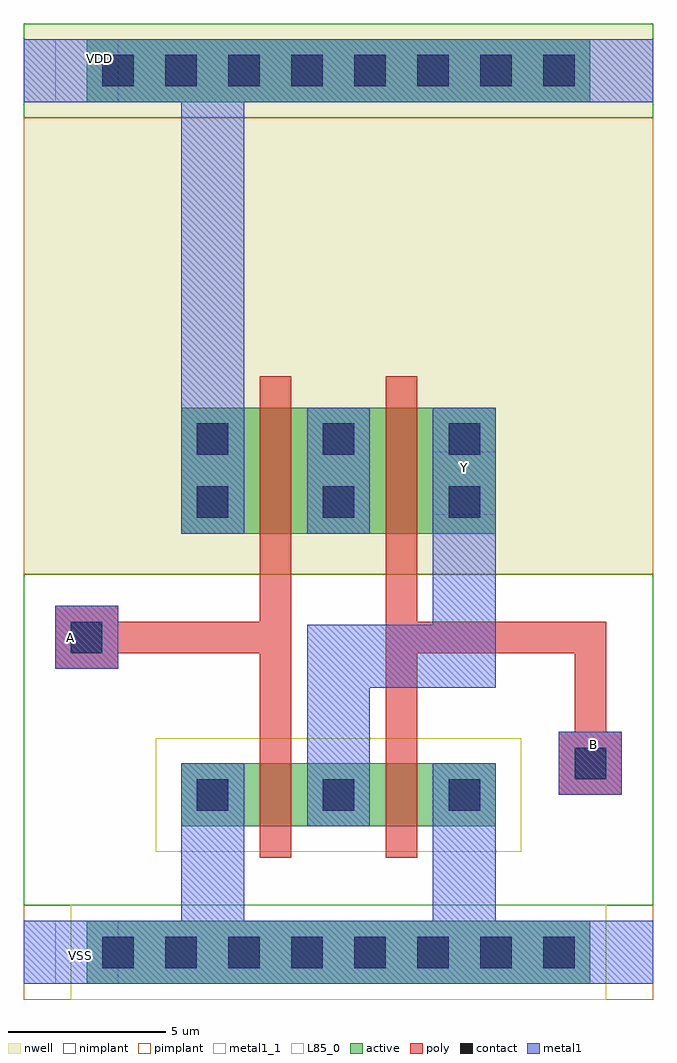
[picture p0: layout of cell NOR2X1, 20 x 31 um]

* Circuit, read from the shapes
.subckt NOR2X1 A B VDD VSS Y
M1 Y A VSS VSS nfet w=2u l=1u
M2 VSS B Y VSS nfet w=2u l=1u
M3 n1 A VDD VDD pfet w=4u l=1u
M4 Y B n1 VDD pfet w=4u l=1u
.ends

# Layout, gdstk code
from math import pi, radians
import gdstk
lib = gdstk.Library(unit=1e-6, precision=5e-10)
def R(c, l, rs):  # rectangles x0, y0, x1, y1
    for r in rs: c.add(gdstk.rectangle(r[:2], r[2:], *l))
def A(c, l, x, y, w, h, nx, ny, dx, dy):  # array of equal rectangles
    R(c, l, [(x+i*dx, y+j*dy, x+i*dx+w, y+j*dy+h) for i in range(nx) for j in range(ny)])
active = (1, 0)
nwell = (2, 0)
poly = (3, 0)
nimplant = (4, 0)
pimplant = (5, 0)
contact = (6, 0)
metal1 = (7, 0)
metal1_1 = (7, 1)
L85_0 = (85, 0)

nmos4_cdns_4 = lib.new_cell('nmos4_CDNS_4')
R(nmos4_cdns_4, active, [(1,1,7,3)])
R(nmos4_cdns_4, poly, [(3.5,0,4.5,4), (3.6,3.4,4.4,3.9)])
R(nmos4_cdns_4, nimplant, [(0,0,8,4)])
R(nmos4_cdns_4, contact, [(1.5,1.5,2.5,2.5), (5.5,1.5,6.5,2.5)])
R(nmos4_cdns_4, metal1, [(1,1,3,3), (5,1,7,3), (1.3,1.3,2.7,2.7), (5.3,1.3,6.7,2.7)])
R(nmos4_cdns_4, L85_0, [(0.2,0.2,7.8,3.8)])

pmos4_cdns_5 = lib.new_cell('pmos4_CDNS_5')
R(pmos4_cdns_5, active, [(1,1,7,5)])
R(pmos4_cdns_5, nwell, [(0.2,0.2,7.8,5.8)])
R(pmos4_cdns_5, poly, [(3.5,0,4.5,6), (3.6,5.5,4.4,5.9)])
R(pmos4_cdns_5, pimplant, [(0,0,8,6)])
R(pmos4_cdns_5, contact, [(1.5,1.5,2.5,2.5), (5.5,1.5,6.5,2.5), (1.5,3.5,2.5,4.5), (5.5,3.5,6.5,4.5)])
R(pmos4_cdns_5, metal1, [(1,1,3,5), (5,1,7,5), (1.3,1.3,2.7,2.7), (5.3,1.3,6.7,2.7)])

m1_nwell_cdns_1 = lib.new_cell('M1_NWELL_CDNS_1')
R(m1_nwell_cdns_1, active, [(-8,-1,8,1)])
R(m1_nwell_cdns_1, nwell, [(-8.5,-1.5,8.5,1.5)])
R(m1_nwell_cdns_1, nimplant, [(-8.5,-1.5,8.5,1.5)])
A(m1_nwell_cdns_1, contact, -7.5, -0.5, 1, 1, 8, 1, 2, 0)
R(m1_nwell_cdns_1, metal1, [(-8,-1,8,1)])

m1_psub_cdns_2 = lib.new_cell('M1_PSUB_CDNS_2')
R(m1_psub_cdns_2, active, [(-8,-1,8,1)])
R(m1_psub_cdns_2, pimplant, [(-8.5,-1.5,8.5,1.5)])
A(m1_psub_cdns_2, contact, -7.5, -0.5, 1, 1, 8, 1, 2, 0)
R(m1_psub_cdns_2, metal1, [(-8,-1,8,1)])
R(m1_psub_cdns_2, L85_0, [(-8.5,-1.5,8.5,1.5)])

m1_po_cdns_3 = lib.new_cell('M1_PO_CDNS_3')
R(m1_po_cdns_3, poly, [(-1,-1,1,1)])
R(m1_po_cdns_3, contact, [(-0.5,-0.5,0.5,0.5)])
R(m1_po_cdns_3, metal1, [(-1,-1,1,1)])

nor2x1 = lib.new_cell('NOR2X1')
R(nor2x1, nwell, [(0,12,20,29.5)])
R(nor2x1, nimplant, [(0,1.5,20,12), (0,26.5,20,29.5)])
R(nor2x1, pimplant, [(0,-1.5,20,1.5), (0,12,20,26.5)])
R(nor2x1, metal1, [(0,-1,20,1), (5,-0.4,7,6), (13,0.3,15,6), (17,5,19,7), (1,9,3,11), (5,15.5,7,27.8), (0,27,20,29)])
R(nor2x1, metal1_1, [(1,-1,3,1), (17,5,19,7), (1,9,3,11), (13,13.9,15,15.9), (1,27,3,29)])
nor2x1.add(gdstk.FlexPath([(10,5.9),(10,9.4)], 2, ends=(0, 1), simple_path=True, layer=7, datatype=0))  # metal1
nor2x1.add(gdstk.FlexPath([(14,9.4),(14,16.4)], 2, ends=(1, 0), simple_path=True, layer=7, datatype=0))  # metal1
nor2x1.add(gdstk.FlexPath([(10,9.4),(14,9.4)], 2, ends="extended", simple_path=True, layer=7, datatype=0))  # metal1
nor2x1.add(gdstk.FlexPath([(18,6),(18,7)], 2, ends="flush", simple_path=True, layer=7, datatype=0))  # metal1
nor2x1.add(gdstk.FlexPath([(12,6.9),(12,10)], 1, ends=(0, 0.5), simple_path=True, layer=3, datatype=0))  # poly
nor2x1.add(gdstk.FlexPath([(8,10),(8,7)], 1, ends=(0.5, 0), simple_path=True, layer=3, datatype=0))  # poly
nor2x1.add(gdstk.FlexPath([(12,10),(12,12.6)], 1, ends=(0.5, 0), simple_path=True, layer=3, datatype=0))  # poly
nor2x1.add(gdstk.FlexPath([(12,10),(18,10)], 1, ends="extended", simple_path=True, layer=3, datatype=0))  # poly
nor2x1.add(gdstk.FlexPath([(18,10),(18,6)], 1, ends=(0.5, 0), simple_path=True, layer=3, datatype=0))  # poly
nor2x1.add(gdstk.FlexPath([(8,10),(2,10)], 1, ends=(0.5, 0), simple_path=True, layer=3, datatype=0))  # poly
nor2x1.add(gdstk.FlexPath([(8,12.6),(8,10)], 1, ends=(0, 0.5), simple_path=True, layer=3, datatype=0))  # poly
nor2x1.add(gdstk.Reference(nmos4_cdns_4, (4,3)))
nor2x1.add(gdstk.Reference(nmos4_cdns_4, (16,3), rotation=pi, x_reflection=True))
nor2x1.add(gdstk.Reference(pmos4_cdns_5, (8,12.3)))
nor2x1.add(gdstk.Reference(pmos4_cdns_5, (4,12.3)))
nor2x1.add(gdstk.Reference(m1_nwell_cdns_1, (10,28)))
nor2x1.add(gdstk.Reference(m1_psub_cdns_2, (10,0)))
nor2x1.add(gdstk.Reference(m1_po_cdns_3, (2,10)))
nor2x1.add(gdstk.Reference(m1_po_cdns_3, (18,6)))
nor2x1.add(gdstk.Label('B', (18.1,6.6), layer=7, texttype=3))
nor2x1.add(gdstk.Label('Y', (14,15.4), layer=7, texttype=3))
nor2x1.add(gdstk.Label('A', (1.5,10), layer=7, texttype=3))
nor2x1.add(gdstk.Label('VSS', (1.8,-0.1), layer=7, texttype=3))
nor2x1.add(gdstk.Label('VDD', (2.4,28.4), layer=7, texttype=3))

lib.write_gds('NOR2X1.gds')
